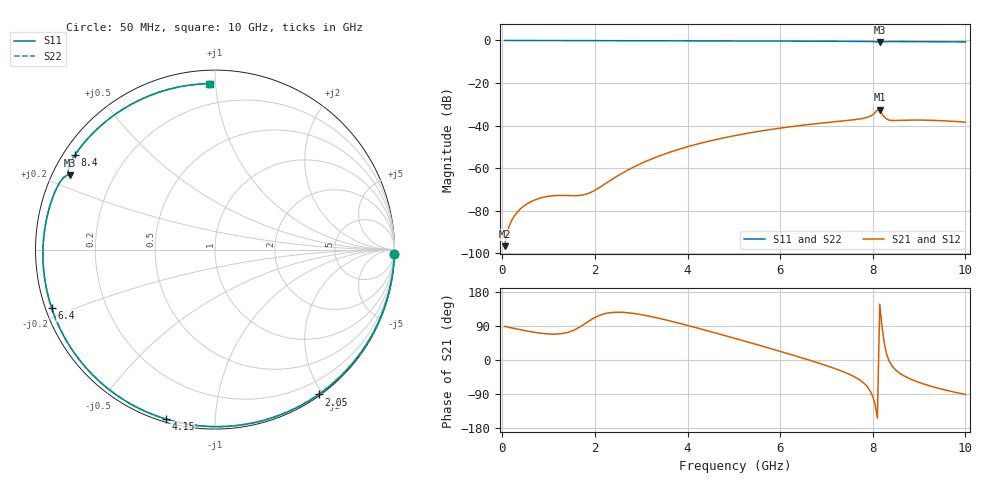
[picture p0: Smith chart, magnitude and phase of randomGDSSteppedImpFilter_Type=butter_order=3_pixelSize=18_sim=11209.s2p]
! freq	dB(S11)	phase(S11)	dB(S12)	phase(S12)
!  dB(S21)	phase(S21)	dB(S22)	phase(S22)
!S-par simulation data
#  GHz  S  DB  R 50
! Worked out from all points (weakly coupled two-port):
!   200 points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, 50 MHz to 10 GHz, reference 50 ohm
!   highest |S21| = -32.48 dB at 8.15 GHz (marker M1); lowest = -96.6 dB at 50 MHz (marker M2)
!   lowest |S11| = -0.8 dB at 8.15 GHz (marker M3), VSWR 21.20, Z = 2.49 + j12 ohm
!   |S11| at or under -10 dB: nowhere
!   |S22| runs from -0.8 to 0.0 dB; largest |S21 - S12| = 0
!   S11 on the Smith chart (normalised r, x): 50 MHz: 0, -84; 2.05 GHz: 0.02, -1.94; 4.15 GHz: 0.01, -0.75; 6.4 GHz: 0.02, -0.17; 8.4 GHz: 0.03, +0.31; 10 GHz: 0.08, +0.97
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0.05  -0.00 -1.4  -96.62 88.7  -96.62 88.7  -0.00 -1.4
0.35  -0.01 -9.5  -80.00 80.9  -80.00 80.9  -0.01 -9.5
0.6  -0.02 -16.2  -75.91 75.0  -75.91 75.0  -0.02 -16.2
0.9  -0.03 -24.3  -73.57 69.8  -73.57 69.8  -0.03 -24.3
1.75  -0.06 -46.7  -72.53 93.0  -72.53 93.0  -0.06 -46.7
2.05  -0.07 -54.4  -69.70 115.1  -69.70 115.1  -0.07 -54.4
2.75  -0.09 -72.1  -60.42 124.2  -60.42 124.2  -0.09 -72.2
3.4  -0.12 -88.2  -54.17 109.6  -54.17 109.6  -0.12 -88.2
4.15  -0.15 -106.3  -49.01 86.4  -49.01 86.4  -0.15 -106.3
5.05  -0.20 -127.7  -44.58 56.2  -44.58 56.2  -0.20 -127.7
5.75  -0.24 -144.5  -41.97 31.8  -41.97 31.8  -0.24 -144.5
6.4  -0.29 -160.4  -40.04 8.3  -40.04 8.3  -0.29 -160.4
6.7  -0.32 -168.0  -39.29 -3.0  -39.29 -3.0  -0.32 -168.0
7.25  -0.38 177.7  -38.04 -25.6  -38.04 -25.6  -0.38 177.7
7.8  -0.45 162.3  -36.54 -60.3  -36.54 -60.3  -0.45 162.4
7.95  -0.49 157.8  -35.52 -82.9  -35.52 -82.9  -0.49 157.8
8.15  -0.82 153.0  -32.48 147.5  -32.48 147.5  -0.82 153.0
8.25  -0.59 150.8  -35.99 43.9  -35.99 43.9  -0.59 150.8
8.35  -0.54 147.5  -37.39 -1.7  -37.39 -1.7  -0.53 147.5
8.4  -0.53 145.9  -37.58 -12.5  -37.58 -12.5  -0.52 145.9
9.25  -0.60 118.2  -37.50 -69.0  -37.50 -69.0  -0.60 118.3
10  -0.68 91.8  -38.38 -90.9  -38.38 -90.9  -0.68 91.9
